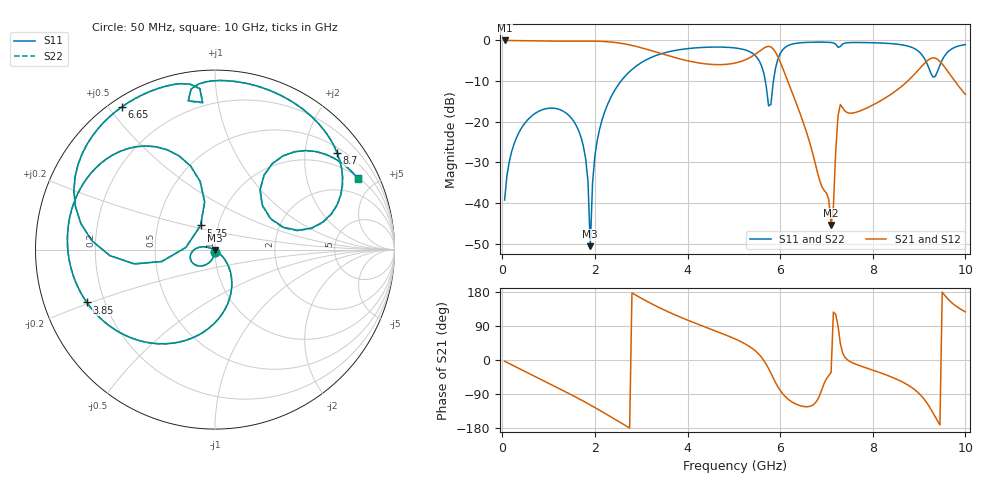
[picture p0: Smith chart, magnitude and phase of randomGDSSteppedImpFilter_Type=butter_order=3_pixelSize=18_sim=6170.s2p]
! freq	dB(S11)	phase(S11)	dB(S12)	phase(S12)
!  dB(S21)	phase(S21)	dB(S22)	phase(S22)
!S-par simulation data
#  GHz  S  DB  R 50
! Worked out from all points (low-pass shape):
!   200 points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, 50 MHz to 10 GHz, reference 50 ohm
!   highest |S21| = -0.01 dB at 50 MHz (marker M1); lowest = -45.4 dB at 7.1 GHz (marker M2)
!   |S21| within 3 dB of the highest: start of sweep to 3.363 GHz; 5.512 GHz to 5.905 GHz (393.7 MHz wide, 6.9 % of centre)
!   lowest |S11| = -50.6 dB at 1.9 GHz (marker M3), VSWR 1.01, Z = 49.8 - j0.212 ohm
!   |S11| at or under -10 dB: start of sweep to 2.565 GHz; 5.679 GHz to 5.855 GHz (176 MHz wide, 3.05 % of centre)
!   |S22| runs from -48.9 to -0.4 dB; largest |S21 - S12| = 0
!   S11 on the Smith chart (normalised r, x): 50 MHz: 1.00, -0.02; 3.85 GHz: 0.13, -0.19; 5.75 GHz: 0.82, +0.23; 6.65 GHz: 0.03, +0.54; 8.7 GHz: 0.63, +2.75; 10 GHz: 1.05, +3.98
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0.05  -39.27 -92.3  -0.01 -3.2  -0.01 -3.2  -39.27 -92.3
0.25  -25.59 -105.4  -0.04 -15.5  -0.04 -15.5  -25.59 -105.4
0.7  -18.02 -133.5  -0.13 -43.1  -0.13 -43.1  -18.02 -133.4
1.75  -25.97 163.2  -0.15 -108.5  -0.15 -108.5  -25.97 164.0
1.85  -34.59 161.8  -0.15 -115.2  -0.15 -115.2  -34.55 163.8
1.9  -50.61 -133.8  -0.15 -118.6  -0.15 -118.6  -48.92 -131.0
2  -28.43 -40.8  -0.17 -125.5  -0.17 -125.5  -28.41 -41.8
2.2  -17.91 -52.0  -0.26 -139.6  -0.26 -139.6  -17.91 -52.3
3.4  -3.39 -133.2  -3.13 137.6  -3.13 137.6  -3.39 -133.2
3.85  -2.24 -157.6  -4.59 112.8  -4.59 112.8  -2.24 -157.6
5.05  -1.88 145.8  -5.50 54.4  -5.50 54.4  -1.88 145.8
5.55  -5.05 110.9  -2.68 13.9  -2.68 13.9  -5.05 111.0
5.75  -16.11 120.6  -1.45 -22.5  -1.45 -22.5  -16.08 120.7
6.1  -1.78 162.8  -8.11 -95.3  -8.11 -95.3  -1.78 162.7
6.65  -0.45 123.1  -25.61 -122.0  -25.61 -122.0  -0.45 123.1
6.7  -0.44 120.6  -27.70 -119.4  -27.70 -119.4  -0.44 120.6
7.1  -0.51 101.5  -45.43 -32.7  -45.43 -32.7  -0.51 101.4
7.3  -1.49 100.2  -15.75 43.2  -15.75 43.2  -1.51 100.2
8.35  -0.74 55.1  -13.58 -42.2  -13.58 -42.2  -0.75 55.0
8.7  -1.23 38.3  -10.55 -61.8  -10.55 -61.8  -1.23 38.2
9.4  -7.57 53.0  -4.66 -161.3  -4.66 -161.3  -7.59 53.0
10  -1.02 26.5  -13.28 126.9  -13.28 126.9  -1.02 26.4
